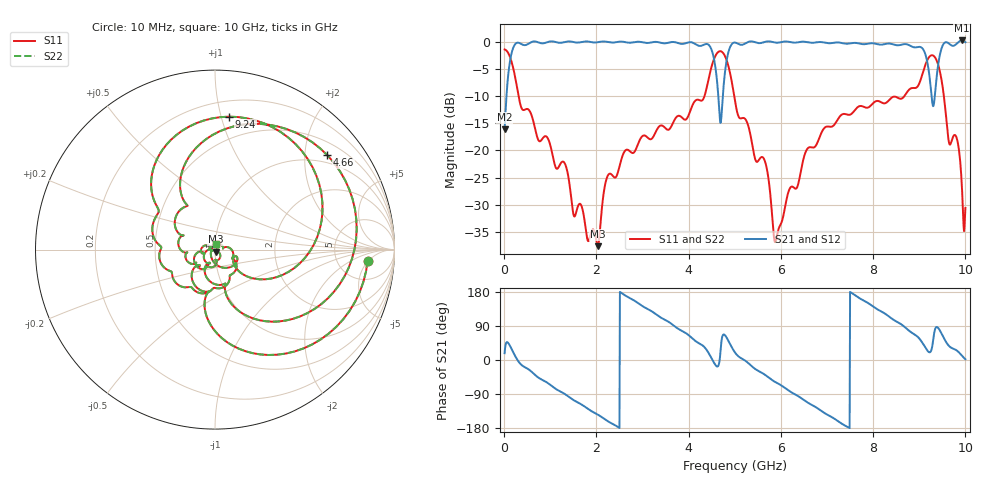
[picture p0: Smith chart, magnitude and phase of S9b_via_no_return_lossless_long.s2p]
! kicad_em_sim: S-parameters of 2 ports, openEMS
# Hz S RI R 50
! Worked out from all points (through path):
!   1000 points, 10 MHz to 10 GHz, reference 50 ohm
!   highest |S21| = 0.27 dB at 9.92 GHz (marker M1); lowest = -16.1 dB at 10 MHz (marker M2)
!   group delay of S21, straight-line fit = 203 ps
!   lowest |S11| = -37.6 dB at 2.03 GHz (marker M3), VSWR 1.03, Z = 50.6 - j1.19 ohm
!   |S11| at or under -10 dB: 313.5 MHz to 4.343 GHz (4.029 GHz wide, 173 % of centre); 4.989 GHz to 8.675 GHz (3.686 GHz wide, 54 % of centre); 9.534 GHz to end of sweep
!   |S22| runs from -37.6 to -1.4 dB; largest |S21 - S12| = 1.1e-06
!   S11 on the Smith chart (normalised r, x): 10 MHz: 10, -5; 4.66 GHz: 0.80, +2.53; 9.24 GHz: 0.32, +1.06; 10 GHz: 1.00, +0.06
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1e7  0.8505 -0.0609  0.1489 0.0484  0.1489 0.0484  0.8505 -0.0609
1.5e8  0.3455 -0.5857  0.6372 0.3968  0.6372 0.3968  0.3455 -0.5857
3.2e8  -0.0583 -0.3  0.9767 -0.0947  0.9767 -0.0947  -0.0583 -0.3
1.03e9  -0.098 -0.0166  0.3707 -0.9422  0.3707 -0.9422  -0.098 -0.0166
1.68e9  -0.0251 0.0175  -0.4632 -0.8851  -0.4632 -0.8851  -0.0251 0.0175
2.03e9  0.00576 -0.0118  -0.8051 -0.5831  -0.8051 -0.5831  0.00576 -0.0118
2.25e9  0.0209 -0.0551  -0.9484 -0.3123  -0.9484 -0.3123  0.0209 -0.0551
3.34e9  -0.1454 -0.0727  -0.4433 0.8918  -0.4433 0.8918  -0.1454 -0.0727
4.42e9  -0.1935 0.3855  0.8864 0.3411  0.8864 0.3411  -0.1935 0.3855
4.66e9  0.6267 0.5251  0.2454 -0.0385  0.2454 -0.0385  0.6267 0.5251
4.85e9  0.515 -0.3537  0.4589 0.6146  0.4589 0.6146  0.515 -0.3537
5.01e9  0.0705 -0.2699  0.9323 0.3201  0.9323 0.3201  0.0705 -0.2699
5.66e9  -0.0619 -0.0477  0.7741 -0.6373  0.7741 -0.6373  -0.0619 -0.0477
5.88e9  -0.0129 -0.00624  0.5179 -0.8385  0.5179 -0.8385  -0.0129 -0.00624
6.67e9  0.0961 -0.0461  -0.4683 -0.8622  -0.4683 -0.8622  0.0961 -0.0461
7.56e9  -0.0172 -0.2228  -0.9748 0.0868  -0.9748 0.0868  -0.0172 -0.2228
8.34e9  -0.2669 -0.1119  -0.41 0.8757  -0.41 0.8757  -0.2669 -0.1119
8.96e9  -0.3152 0.2239  0.4241 0.7897  0.4241 0.7897  -0.3152 0.2239
9.24e9  0.0785 0.7406  0.3841 0.1483  0.3841 0.1483  0.0785 0.7406
9.51e9  0.3439 -0.1534  0.4173 0.834  0.4173 0.834  0.3439 -0.1534
9.92e9  -0.0194 -0.0463  1.009 0.2155  1.009 0.2155  -0.0194 -0.0463
1e10  0.00312 0.0294  0.9938 0.0345  0.9938 0.0345  0.00312 0.0294
